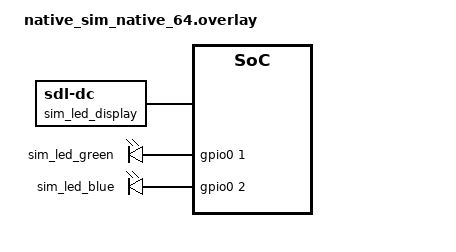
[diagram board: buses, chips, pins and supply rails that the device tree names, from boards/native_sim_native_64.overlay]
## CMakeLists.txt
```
cmake_minimum_required(VERSION 3.28.0)

option(LONGAN_NANO_USBFS_INFO "Build the USBFS register diagnostic application" OFF)
option(LONGAN_NANO_USB_CLOCK_TEST "Test a 96 MHz PLL and 48 MHz USB clock" OFF)
option(LONGAN_NANO_USB_CONSOLE "Use the experimental USB CDC ACM console" OFF)

if(LONGAN_NANO_USB_CONSOLE)
  if(LONGAN_NANO_USBFS_INFO OR LONGAN_NANO_USB_CLOCK_TEST)
    message(FATAL_ERROR "The USB console cannot be combined with USB diagnostics")
  endif()
  list(APPEND EXTRA_ZEPHYR_MODULES "${CMAKE_CURRENT_SOURCE_DIR}/drivers/usb_gd32")
  list(APPEND EXTRA_DTC_OVERLAY_FILE "${CMAKE_CURRENT_SOURCE_DIR}/boards/longan_nano_usb_console.overlay")
  list(APPEND EXTRA_CONF_FILE "${CMAKE_CURRENT_SOURCE_DIR}/boards/longan_nano_usb_console.conf")
endif()

if(LONGAN_NANO_USB_CLOCK_TEST)
  if(NOT LONGAN_NANO_USBFS_INFO)
    message(FATAL_ERROR "The USB clock test requires LONGAN_NANO_USBFS_INFO")
  endif()
  list(APPEND EXTRA_DTC_OVERLAY_FILE "${CMAKE_CURRENT_SOURCE_DIR}/boards/longan_nano_usb_clock.overlay")
endif()

find_package(Zephyr REQUIRED HINTS "${CMAKE_CURRENT_SOURCE_DIR}/zephyr" $ENV{ZEPHYR_BASE})
project(longannano)

if(LONGAN_NANO_USB_CONSOLE AND NOT CONFIG_SOC_GD32VF103)
  message(FATAL_ERROR "The USB console is only supported on GD32VF103")
endif()

if(LONGAN_NANO_USBFS_INFO)
  if(NOT CONFIG_SOC_GD32VF103)
    message(FATAL_ERROR "The USBFS diagnostic is only supported on GD32VF103")
  endif()
  target_sources(app PRIVATE src/usbfs_info.c)
  if(LONGAN_NANO_USB_CLOCK_TEST)
    target_sources(app PRIVATE src/usb_clock_test.c)
    target_compile_definitions(app PRIVATE LONGAN_NANO_USB_CLOCK_TEST)
    target_link_options(app PUBLIC "LINKER:--wrap=SystemInit")
  endif()
else()
  target_sources(app PRIVATE src/main.c)

  find_program(CARGO_EXECUTABLE cargo REQUIRED)
  if(CONFIG_SOC_GD32VF103)
    set(RUST_TARGET riscv32i-unknown-none-elf)
  elseif(CONFIG_ARCH_POSIX AND CONFIG_64BIT AND CMAKE_HOST_SYSTEM_PROCESSOR MATCHES "^(x86_64|aarch64)$")
    set(RUST_TARGET "${CMAKE_HOST_SYSTEM_PROCESSOR}-unknown-linux-gnu")
  else()
    message(FATAL_ERROR "Rust target is not configured for this board")
  endif()

  set(RUST_TARGET_DIR "${CMAKE_CURRENT_BINARY_DIR}/cargo")
  set(RUST_LIBRARY "${RUST_TARGET_DIR}/${RUST_TARGET}/release/librustapp.a")
  add_custom_target(rust_app_build
    COMMAND ${CARGO_EXECUTABLE} build --locked --release --target ${RUST_TARGET}
            --target-dir ${RUST_TARGET_DIR}
    WORKING_DIRECTORY ${CMAKE_CURRENT_SOURCE_DIR}
    BYPRODUCTS ${RUST_LIBRARY}
    USES_TERMINAL
  )
  add_dependencies(app rust_app_build)
  target_link_libraries(app PRIVATE ${RUST_LIBRARY})
endif()
```

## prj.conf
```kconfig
CONFIG_DISPLAY=y
CONFIG_GPIO=y
```

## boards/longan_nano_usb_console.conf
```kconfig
CONFIG_USB_DEVICE_STACK_NEXT=y
CONFIG_CDC_ACM_SERIAL_INITIALIZE_AT_BOOT=y
CONFIG_SERIAL=y
CONFIG_CONSOLE=y
CONFIG_UART_CONSOLE=y
CONFIG_UART_LINE_CTRL=y

# Temporary testing only: Zephyr's VID/PID must not be used by external apps.
CONFIG_CDC_ACM_SERIAL_VID=0x2fe3
CONFIG_CDC_ACM_SERIAL_PID=0x0001
CONFIG_CDC_ACM_SERIAL_MANUFACTURER_STRING="Longan Nano experiment"
CONFIG_CDC_ACM_SERIAL_PRODUCT_STRING="Longan Nano USB console"
```

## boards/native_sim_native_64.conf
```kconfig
CONFIG_SDL_DISPLAY_ZOOM_PCT=300
CONFIG_NATIVE_SIM_SLOWDOWN_TO_REAL_TIME=y
```

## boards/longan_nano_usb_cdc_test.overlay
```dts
/ {
	cpus {
		timebase-frequency = <24000000>;
	};

	soc {
		zephyr_udc0: usb@50000000 {
			compatible = "gd,gd32vf103-usbfs";
			reg = <0x50000000 0x5000>;
			interrupts = <86 0>;
			status = "okay";

			cdc_acm_uart0: cdc_acm_uart0 {
				compatible = "zephyr,cdc-acm-uart";
			};
		};
	};
};

&cpu {
	clock-frequency = <96000000>;
};
```

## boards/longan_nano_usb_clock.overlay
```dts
/ {
	cpus {
		timebase-frequency = <24000000>;
	};
};

&cpu {
	clock-frequency = <96000000>;
};
```

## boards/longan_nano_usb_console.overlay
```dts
#include "longan_nano_usb_cdc_test.overlay"

/ {
	chosen {
		zephyr,console = &cdc_acm_uart0;
		zephyr,shell-uart = &cdc_acm_uart0;
	};
};
```

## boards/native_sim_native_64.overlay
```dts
#include <zephyr/dt-bindings/display/panel.h>
#include <zephyr/dt-bindings/gpio/gpio.h>

/ {
	aliases {
		led1 = &sim_led_green;
		led2 = &sim_led_blue;
	};

	sim_led_display: sim-led-display {
		compatible = "zephyr,sdl-dc";
		title = "RGB LED (simulated)";
		width = <32>;
		height = <32>;
		pixel-format = <PANEL_PIXEL_FORMAT_RGB_565>;
	};
};

&leds {
	sim_led_green: led_green {
		gpios = <&gpio0 1 GPIO_ACTIVE_HIGH>;
	};

	sim_led_blue: led_blue {
		gpios = <&gpio0 2 GPIO_ACTIVE_HIGH>;
	};
};

&sdl_dc {
	title = "Longan Nano LCD (simulated)";
	width = <160>;
	height = <80>;
	pixel-format = <PANEL_PIXEL_FORMAT_RGB_565>;
};
```

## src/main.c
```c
#include <errno.h>

#include <zephyr/device.h>
#include <zephyr/drivers/display.h>
#include <zephyr/drivers/gpio.h>
#include <zephyr/kernel.h>
#include <zephyr/sys/printk.h>

#if defined(CONFIG_CDC_ACM_SERIAL_INITIALIZE_AT_BOOT)
#include <zephyr/drivers/uart.h>
#endif

#if DT_NODE_EXISTS(DT_NODELABEL(sim_led_display))
#include <zephyr/drivers/gpio/gpio_emul.h>
#endif

#define LCD_WIDTH 160
#define LCD_HEIGHT 80

static const struct gpio_dt_spec leds[] = {
	GPIO_DT_SPEC_GET(DT_ALIAS(led0), gpios),
	GPIO_DT_SPEC_GET(DT_ALIAS(led1), gpios),
	GPIO_DT_SPEC_GET(DT_ALIAS(led2), gpios),
};

static const struct device *const lcd = DEVICE_DT_GET(DT_CHOSEN(zephyr_display));

int app_lcd_init(void)
{
	struct display_capabilities caps;

	if (!device_is_ready(lcd)) {
		return -ENODEV;
	}
	display_get_capabilities(lcd, &caps);
	if (caps.x_resolution != LCD_WIDTH || caps.y_resolution != LCD_HEIGHT ||
	    (caps.current_pixel_format != PIXEL_FORMAT_RGB_565 &&
	     caps.current_pixel_format != PIXEL_FORMAT_RGB_565X)) {
		return -ENOTSUP;
	}
	return 0;
}

int app_lcd_write_row(uint16_t y, const uint16_t *pixels)
{
	const struct display_buffer_descriptor desc = {
		.buf_size = LCD_WIDTH * sizeof(*pixels),
		.width = LCD_WIDTH,
		.height = 1,
		.pitch = LCD_WIDTH,
	};

	return display_write(lcd, 0, y, &desc, pixels);
}

int app_lcd_show(void)
{
	return display_blanking_off(lcd);
}

int app_leds_init(void)
{
	for (size_t i = 0; i < ARRAY_SIZE(leds); i++) {
		if (!gpio_is_ready_dt(&leds[i])) {
			return -ENODEV;
		}
		int ret = gpio_pin_configure_dt(&leds[i], GPIO_OUTPUT_INACTIVE);

		if (ret < 0) {
			return ret;
		}
	}
	return 0;
}

int app_led_set(uint32_t index, bool active)
{
	if (index >= ARRAY_SIZE(leds)) {
		return -EINVAL;
	}
	return gpio_pin_set_dt(&leds[index], active);
}

#if DT_NODE_EXISTS(DT_NODELABEL(sim_led_display))
static const struct device *const led_display = DEVICE_DT_GET(DT_NODELABEL(sim_led_display));

int app_sim_led_init(void)
{
	if (!device_is_ready(led_display)) {
		return -ENODEV;
	}
	return display_blanking_off(led_display);
}

int app_sim_led_update(void)
{
	static uint16_t pixels[32 * 32];
	static const uint16_t colors[] = {0xf800, 0x07e0, 0x001f};
	uint16_t color = 0;
	const struct display_buffer_descriptor desc = {
		.buf_size = sizeof(pixels),
		.width = 32,
		.height = 32,
		.pitch = 32,
	};

	for (size_t i = 0; i < ARRAY_SIZE(leds); i++) {
		int state = gpio_emul_output_get_dt(&leds[i]);

		if (state < 0) {
			return state;
		}
		if (state != 0) {
			color |= colors[i];
		}
	}
	for (size_t i = 0; i < ARRAY_SIZE(pixels); i++) {
		pixels[i] = color;
	}
	return display_write(led_display, 0, 0, &desc, pixels);
}
#else
int app_sim_led_init(void)
{
	return 0;
}

int app_sim_led_update(void)
{
	return 0;
}
#endif

void app_sleep_one_second(void)
{
	k_sleep(K_SECONDS(1));
}

void app_report_error(const char *operation, int status)
{
	printk("%s failed: %d\n", operation, status);
}

void app_report_message(const char *message)
{
	printk("%s\n", message);
}

#if defined(CONFIG_CDC_ACM_SERIAL_INITIALIZE_AT_BOOT)
static struct k_work_delayable greeting_work;
static const struct device *const console = DEVICE_DT_GET(DT_CHOSEN(zephyr_console));
static bool console_connected;

static void report_usb_greeting(struct k_work *work)
{
	uint32_t dtr;
	int ret;

	ARG_UNUSED(work);
	ret = uart_line_ctrl_get(console, UART_LINE_CTRL_DTR, &dtr);
	if (ret < 0) {
		printk("USB console DTR check failed: %d\n", ret);
		return;
	}
	if (dtr && console_connected) {
		printk("Hello, Zephyr World (%s)\n", CONFIG_BOARD_TARGET);
		return;
	}
	console_connected = dtr;
	/* Allow the CDC transmit FIFO to drain the earlier boot banner. */
	ret = k_work_schedule(&greeting_work, K_MSEC(dtr ? 250 : 100));
	if (ret < 0) {
		printk("USB console greeting scheduling failed: %d\n", ret);
	}
}
#endif

void app_report_greeting(void)
{
#if defined(CONFIG_CDC_ACM_SERIAL_INITIALIZE_AT_BOOT)
	int ret;

	k_work_init_delayable(&greeting_work, report_usb_greeting);
	ret = k_work_schedule(&greeting_work, K_NO_WAIT);
	if (ret < 0) {
		printk("USB console greeting scheduling failed: %d\n", ret);
	}
#else
	printk("Hello, Zephyr World (%s)\n", CONFIG_BOARD_TARGET);
#endif
}

FUNC_NORETURN void app_panic(void)
{
	printk("Rust panic\n");
	k_panic();
	CODE_UNREACHABLE;
}

extern void rust_main(void);

int main(void)
{
	rust_main();
	return 0;
}
```

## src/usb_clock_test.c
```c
#include <stdint.h>

#include <gd32vf103.h>
#include <zephyr/devicetree.h>
#include <zephyr/kernel.h>
#include <zephyr/sys/util.h>

#define CLOCK_WAIT_LIMIT 1000000U

BUILD_ASSERT(DT_PROP(DT_NODELABEL(cpu), clock_frequency) == 96000000);
BUILD_ASSERT(DT_PROP(DT_PATH(cpus), timebase_frequency) == 24000000);
BUILD_ASSERT(CONFIG_SYS_CLOCK_HW_CYCLES_PER_SEC == 24000000);

void __real_SystemInit(void);
void __wrap_SystemInit(void);

static void wait_for_clock(volatile uint32_t *reg, uint32_t mask, uint32_t expected)
{
	for (uint32_t i = 0; i < CLOCK_WAIT_LIMIT; i++) {
		if ((*reg & mask) == expected) {
			return;
		}
	}

	k_panic();
}

void __wrap_SystemInit(void)
{
	__real_SystemInit();
	SystemCoreClockUpdate();

	if (SystemCoreClock != 108000000U ||
	    (RCU_CFG0 & RCU_CFG0_SCSS) != RCU_SCSS_PLL ||
	    (RCU_CTL & RCU_CTL_HXTALSTB) == 0U) {
		k_panic();
	}

	RCU_CFG0 = (RCU_CFG0 & ~RCU_CFG0_SCS) | RCU_CKSYSSRC_HXTAL;
	wait_for_clock(&RCU_CFG0, RCU_CFG0_SCSS, RCU_SCSS_HXTAL);

	RCU_CTL &= ~RCU_CTL_PLLEN;
	wait_for_clock(&RCU_CTL, RCU_CTL_PLLSTB, 0U);
	RCU_CFG0 = (RCU_CFG0 & ~(RCU_CFG0_PLLMF | RCU_CFG0_PLLMF_4 |
				  RCU_CFG0_USBFSPSC)) |
		   RCU_PLL_MUL24 | RCU_CKUSB_CKPLL_DIV2;
	RCU_CTL |= RCU_CTL_PLLEN;
	wait_for_clock(&RCU_CTL, RCU_CTL_PLLSTB, RCU_CTL_PLLSTB);

	RCU_CFG0 = (RCU_CFG0 & ~RCU_CFG0_SCS) | RCU_CKSYSSRC_PLL;
	wait_for_clock(&RCU_CFG0, RCU_CFG0_SCSS, RCU_SCSS_PLL);
	SystemCoreClockUpdate();
	if (SystemCoreClock != 96000000U ||
	    (RCU_CFG0 & RCU_CFG0_USBFSPSC) != RCU_CKUSB_CKPLL_DIV2) {
		k_panic();
	}
}
```

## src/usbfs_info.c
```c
#include <errno.h>
#include <stdbool.h>
#include <stddef.h>
#include <stdio.h>
#include <stdint.h>
#include <string.h>

#include <zephyr/device.h>
#include <zephyr/drivers/display.h>
#include <zephyr/drivers/gpio.h>
#include <zephyr/kernel.h>
#include <zephyr/sys/printk.h>
#include <zephyr/sys/sys_io.h>
#include <zephyr/sys/util.h>

#define LCD_WIDTH 160
#define LCD_HEIGHT 80
#define LCD_LINE_COUNT 8
#define LCD_LINE_HEIGHT 9
#define USBFS_BASE 0x50000000U
#define USBFS_GOTGCTL 0x000U
#define USBFS_GUSBCFG 0x00CU
#define USBFS_GCCFG 0x038U
#define USBFS_CID 0x03CU
#define USBFS_GHWCFG3 0x04CU
#define USBFS_GRXFSIZ 0x024U
#define USBFS_GNPTXFSIZ 0x028U
#define USBFS_DIEPTXF1 0x104U
#define USBFS_NUM_IN_EPS 4
#define USBFS_TX_FIFO_COUNT (USBFS_NUM_IN_EPS - 1)
#define USBFS_GCCFG_PWRON BIT(16)
#define USBFS_GCCFG_VBUSBCEN BIT(19)
#define USBFS_GCCFG_VBUSIG BIT(21)
#define RCU_BASE 0x40021000U
#define RCU_CFG0 (RCU_BASE + 0x04U)
#define RCU_AHBEN (RCU_BASE + 0x14U)
#define RCU_RSTSCK (RCU_BASE + 0x24U)
#define RCU_AHBRST (RCU_BASE + 0x28U)
#define RCU_USBFS_BIT BIT(12)
#define RCU_RSTFC BIT(24)
#define TEXT_WIDTH 5
#define TEXT_HEIGHT 7
#define TEXT_ADVANCE 6

struct register_value {
	const char *name;
	uint32_t value;
};

static const struct device *const lcd = DEVICE_DT_GET(DT_CHOSEN(zephyr_display));
static const struct gpio_dt_spec page_button = GPIO_DT_SPEC_GET(DT_ALIAS(sw0), gpios);
static const struct gpio_dt_spec heartbeat_led = GPIO_DT_SPEC_GET(DT_ALIAS(led0), gpios);
static const uint8_t slash_glyph[TEXT_HEIGHT] = {1, 1, 2, 4, 8, 16, 16};

static const uint8_t font[36][TEXT_HEIGHT] = {
	{14, 17, 19, 21, 25, 17, 14}, /* 0 */
	{4, 12, 4, 4, 4, 4, 14},
	{14, 17, 1, 2, 4, 8, 31},
	{30, 1, 1, 14, 1, 1, 30},
	{2, 6, 10, 18, 31, 2, 2},
	{31, 16, 16, 30, 1, 1, 30},
	{6, 8, 16, 30, 17, 17, 14},
	{31, 1, 2, 4, 8, 8, 8},
	{14, 17, 17, 14, 17, 17, 14},
	{14, 17, 17, 15, 1, 2, 12},
	{14, 17, 17, 31, 17, 17, 17}, /* A */
	{30, 17, 17, 30, 17, 17, 30},
	{14, 17, 16, 16, 16, 17, 14},
	{28, 18, 17, 17, 17, 18, 28},
	{31, 16, 16, 30, 16, 16, 31},
	{31, 16, 16, 30, 16, 16, 16},
	{14, 17, 16, 23, 17, 17, 15},
	{17, 17, 17, 31, 17, 17, 17},
	{14, 4, 4, 4, 4, 4, 14},
	{7, 2, 2, 2, 2, 18, 12},
	{17, 18, 20, 24, 20, 18, 17},
	{16, 16, 16, 16, 16, 16, 31},
	{17, 27, 21, 21, 17, 17, 17},
	{17, 25, 21, 19, 17, 17, 17},
	{14, 17, 17, 17, 17, 17, 14},
	{30, 17, 17, 30, 16, 16, 16},
	{14, 17, 17, 17, 21, 18, 13},
	{30, 17, 17, 30, 20, 18, 17},
	{15, 16, 16, 14, 1, 1, 30},
	{31, 4, 4, 4, 4, 4, 4},
	{17, 17, 17, 17, 17, 17, 14},
	{17, 17, 17, 17, 17, 10, 4},
	{17, 17, 17, 21, 21, 21, 10},
	{17, 17, 10, 4, 10, 17, 17},
	{17, 17, 10, 4, 4, 4, 4},
	{31, 1, 2, 4, 8, 16, 31},
};

static const uint32_t usbfs_registers[] = {
	[0] = USBFS_GOTGCTL,
	[1] = USBFS_GUSBCFG,
	[2] = USBFS_GCCFG,
	[3] = USBFS_CID,
	[4] = USBFS_GHWCFG3,
	[5] = USBFS_GRXFSIZ,
	[6] = USBFS_GNPTXFSIZ,
};

static const char *const usbfs_register_names[] = {
	"GOTGCTL", "GUSBCFG", "GCCFG", "CID",
	"GHWCFG3", "GRXFSIZ", "GNPTXFSIZ",
};

static uint32_t usbfs_values[ARRAY_SIZE(usbfs_registers)];
static uint32_t tx_fifo_values[USBFS_TX_FIFO_COUNT];
static uint32_t rcu_cfg0_value;
static uint32_t rcu_ahben_value;
static uint32_t rcu_ahbrst_value;
static uint32_t rcu_rstsck_value;
static uint32_t heartbeat_last_toggle;
static bool heartbeat_led_on;
static uint16_t display_row[LCD_WIDTH];
static char display_lines[LCD_LINE_COUNT][32];

static const uint8_t *get_glyph(char ch)
{
	if (ch >= '0' && ch <= '9') {
		return font[(size_t)(ch - '0')];
	}
	if (ch >= 'A' && ch <= 'Z') {
		return font[10U + (size_t)(ch - 'A')];
	}
	if (ch == '/') {
		return slash_glyph;
	}
	return NULL;
}

static bool pixel_is_set(const char *text, int x, int y)
{
	int char_index = x / TEXT_ADVANCE;
	int glyph_x = x % TEXT_ADVANCE;
	const uint8_t *glyph;

	if (glyph_x >= TEXT_WIDTH || text[char_index] == '\0') {
		return false;
	}
	glyph = get_glyph(text[char_index]);
	return glyph != NULL && (glyph[y] & BIT(TEXT_WIDTH - 1 - glyph_x)) != 0;
}

static int draw_lines(const char lines[LCD_LINE_COUNT][32])
{
	const struct display_buffer_descriptor desc = {
		.buf_size = sizeof(display_row),
		.width = LCD_WIDTH,
		.height = 1,
		.pitch = LCD_WIDTH,
	};

	for (int y = 0; y < LCD_HEIGHT; y++) {
		memset(display_row, 0, sizeof(display_row));
		for (size_t line = 0; line < LCD_LINE_COUNT; line++) {
			int line_y = (int)line * LCD_LINE_HEIGHT;

			if (y < line_y || y >= line_y + TEXT_HEIGHT) {
				continue;
			}
			size_t text_len = strlen(lines[line]);
			int text_width = (int)text_len * TEXT_ADVANCE - 1;
			int start_x = MAX(0, (LCD_WIDTH - text_width) / 2);

			for (int x = 0; x < text_width && start_x + x < LCD_WIDTH; x++) {
				if (pixel_is_set(lines[line], x, y - line_y)) {
					display_row[start_x + x] = UINT16_MAX;
				}
			}
		}
		int ret = display_write(lcd, 0, y, &desc, display_row);

		if (ret < 0) {
			return ret;
		}
	}
	return 0;
}

static int draw_button_status(int state)
{
	char text[16];
	size_t text_width;
	int start_x;

	snprintk(text, sizeof(text), "BOOT0 %u", (unsigned int)(state != 0));
	text_width = strlen(text) * TEXT_ADVANCE - 1U;
	start_x = (LCD_WIDTH - (int)text_width) / 2;

	for (int y = 0; y < TEXT_HEIGHT; y++) {
		memset(display_row, 0, sizeof(display_row));
		for (size_t x = 0; x < text_width; x++) {
			if (pixel_is_set(text, x, y)) {
				display_row[start_x + x] = UINT16_MAX;
			}
		}
		int ret = display_write(lcd, 0, LCD_HEIGHT - TEXT_HEIGHT - 1 + y,
					&(const struct display_buffer_descriptor) {
						.buf_size = sizeof(display_row),
						.width = LCD_WIDTH,
						.height = 1,
						.pitch = LCD_WIDTH,
					},
					display_row);

		if (ret < 0) {
			return ret;
		}
	}
	return 0;
}

static void set_line(char lines[LCD_LINE_COUNT][32], size_t line, const char *format,
		     const char *name, uint32_t value)
{
	snprintk(lines[line], sizeof(lines[line]), format, name, value);
}

static void collect_registers(void)
{
	for (size_t i = 0; i < ARRAY_SIZE(usbfs_registers); i++) {
		usbfs_values[i] = sys_read32(USBFS_BASE + usbfs_registers[i]);
	}
	rcu_cfg0_value = sys_read32(RCU_CFG0);
	rcu_ahben_value = sys_read32(RCU_AHBEN);
	rcu_ahbrst_value = sys_read32(RCU_AHBRST);
	rcu_rstsck_value = sys_read32(RCU_RSTSCK);
	sys_write32(rcu_rstsck_value | RCU_RSTFC, RCU_RSTSCK);

	for (size_t i = 0; i < ARRAY_SIZE(tx_fifo_values); i++) {
		tx_fifo_values[i] = sys_read32(USBFS_BASE + USBFS_DIEPTXF1 + (i * 4U));
	}
}

static void report_registers(void)
{
	printk("USBFS register diagnostic (read-only)\n");
	printk("RCU CFG0=%08x AHBEN=%08x AHBRST=%08x\n",
	       rcu_cfg0_value, rcu_ahben_value, rcu_ahbrst_value);
	printk("RCU RSTSCK=%08x\n", rcu_rstsck_value);
	printk("Reset flags: POR=%u SW=%u FWDGT=%u WWDGT=%u LP=%u\n",
	       (rcu_rstsck_value >> 27) & 1U,
	       (rcu_rstsck_value >> 28) & 1U,
	       (rcu_rstsck_value >> 29) & 1U,
	       (rcu_rstsck_value >> 30) & 1U,
	       (rcu_rstsck_value >> 31) & 1U);
	printk("USBFS clock divider field=%u, AHB clock=%s\n",
	       (rcu_cfg0_value >> 22) & 0x3U,
	       (rcu_ahben_value & RCU_USBFS_BIT) ? "enabled" : "disabled");
	for (size_t i = 0; i < ARRAY_SIZE(usbfs_values); i++) {
		printk("%s=%08x\n", usbfs_register_names[i], usbfs_values[i]);
	}
	printk("DIEPTXF count=%u\n", USBFS_TX_FIFO_COUNT);
	for (size_t i = 0; i < ARRAY_SIZE(tx_fifo_values); i++) {
		printk("DIEPTXF%u=%08x\n", (unsigned int)(i + 1U), tx_fifo_values[i]);
	}
}

static void make_page(size_t page, char lines[LCD_LINE_COUNT][32], size_t fifo_pages)
{
	memset(lines, 0, LCD_LINE_COUNT * 32U);
	if (page == 0U) {
		snprintk(lines[0], sizeof(lines[0]), "USBFS DWC2");
		for (size_t i = 0; i < ARRAY_SIZE(usbfs_values); i++) {
			set_line(lines, i + 1U, "%s %08X",
				 usbfs_register_names[i], usbfs_values[i]);
		}
		return;
	}
	if (page == 1U) {
#ifdef LONGAN_NANO_USB_CLOCK_TEST
		snprintk(lines[0], sizeof(lines[0]), "USB 48M TEST");
#else
		snprintk(lines[0], sizeof(lines[0]), "CLOCK STATE");
#endif
		snprintk(lines[1], sizeof(lines[1]), "RCU CFG0 %08X", rcu_cfg0_value);
		snprintk(lines[2], sizeof(lines[2]), "RCU AHBEN %08X", rcu_ahben_value);
		snprintk(lines[3], sizeof(lines[3]), "RCU AHBRST %08X", rcu_ahbrst_value);
		snprintk(lines[4], sizeof(lines[4]), "USB DIV %u",
			 (rcu_cfg0_value >> 22) & 0x3U);
		snprintk(lines[5], sizeof(lines[5]), "USB AHB %s",
			 (rcu_ahben_value & RCU_USBFS_BIT) ? "ON" : "OFF");
		snprintk(lines[6], sizeof(lines[6]), "RCU RSTSCK %08X", rcu_rstsck_value);
		return;
	}

	size_t fifo_page = page - 2U;
	size_t first_fifo = fifo_page * (LCD_LINE_COUNT - 1U);

	snprintk(lines[0], sizeof(lines[0]), "TX FIFO %u/%u",
		 (unsigned int)(fifo_page + 1U), (unsigned int)fifo_pages);
	for (size_t row = 1; row < LCD_LINE_COUNT; row++) {
		size_t fifo = first_fifo + row - 1U;

		if (fifo >= ARRAY_SIZE(tx_fifo_values)) {
			break;
		}
		snprintk(lines[row], sizeof(lines[row]), "DIEPTXF%02u %08X",
			 (unsigned int)(fifo + 1U), tx_fifo_values[fifo]);
	}
}

static void enable_usbfs_clock(void)
{
	uint32_t ahben = sys_read32(RCU_AHBEN);
	uint32_t ahbrst;

	sys_write32(ahben | RCU_USBFS_BIT, RCU_AHBEN);
	ahbrst = sys_read32(RCU_AHBRST);
	sys_write32(ahbrst | RCU_USBFS_BIT, RCU_AHBRST);
	sys_write32(ahbrst & ~RCU_USBFS_BIT, RCU_AHBRST);
}

static void power_usbfs_core(void)
{
	uint32_t gccfg = sys_read32(USBFS_BASE + USBFS_GCCFG);

	gccfg |= USBFS_GCCFG_PWRON | USBFS_GCCFG_VBUSIG | USBFS_GCCFG_VBUSBCEN;
	sys_write32(gccfg, USBFS_BASE + USBFS_GCCFG);
}

static int update_heartbeat(void)
{
	uint32_t now = k_uptime_get_32();

	if ((uint32_t)(now - heartbeat_last_toggle) < 500U) {
		return 0;
	}
	heartbeat_led_on = !heartbeat_led_on;
	heartbeat_last_toggle = now;
	return gpio_pin_set_dt(&heartbeat_led, heartbeat_led_on);
}

static int wait_for_page_button(void)
{
	int state;
	int displayed_state = -1;

	while (true) {
		int ret = update_heartbeat();

		if (ret < 0) {
			return ret;
		}
		state = gpio_pin_get_dt(&page_button);
		if (state < 0) {
			return state;
		}
		if (state != displayed_state) {
			int ret = draw_button_status(state);

			if (ret < 0) {
				return ret;
			}
			displayed_state = state;
		}
		if (state != 0) {
			k_sleep(K_MSEC(30));
			state = gpio_pin_get_dt(&page_button);
			if (state < 0) {
				return state;
			}
			if (state != 0) {
				break;
			}
		}
		k_sleep(K_MSEC(20));
	}

	do {
		k_sleep(K_MSEC(20));
		int ret = update_heartbeat();

		if (ret < 0) {
			return ret;
		}
		state = gpio_pin_get_dt(&page_button);
		if (state < 0) {
			return state;
		}
		if (state != displayed_state) {
			int ret = draw_button_status(state);

			if (ret < 0) {
				return ret;
			}
			displayed_state = state;
		}
	} while (state != 0);

	k_sleep(K_MSEC(100));
	return 0;
}

int main(void)
{
	struct display_capabilities caps;
	size_t fifo_pages;
	size_t page_count;
	size_t page = 0;
	int ret;

	if (!device_is_ready(lcd)) {
		printk("LCD is not ready\n");
		return -ENODEV;
	}
	display_get_capabilities(lcd, &caps);
	if (caps.x_resolution != LCD_WIDTH || caps.y_resolution != LCD_HEIGHT) {
		printk("Unexpected LCD resolution: %u x %u\n",
		       caps.x_resolution, caps.y_resolution);
		return -ENOTSUP;
	}
	if (!gpio_is_ready_dt(&page_button)) {
		printk("BOOT0 button GPIO is not ready\n");
		return -ENODEV;
	}
	ret = gpio_pin_configure_dt(&page_button, GPIO_INPUT | GPIO_PULL_DOWN);
	if (ret < 0) {
		printk("BOOT0 button setup failed: %d\n", ret);
		return ret;
	}
	if (!gpio_is_ready_dt(&heartbeat_led)) {
		printk("Heartbeat LED GPIO is not ready\n");
		return -ENODEV;
	}
	ret = gpio_pin_configure_dt(&heartbeat_led, GPIO_OUTPUT_INACTIVE);
	if (ret < 0) {
		printk("Heartbeat LED setup failed: %d\n", ret);
		return ret;
	}
	ret = gpio_pin_set_dt(&heartbeat_led, 1);
	if (ret < 0) {
		printk("Heartbeat LED initial state failed: %d\n", ret);
		return ret;
	}
	heartbeat_led_on = true;
	heartbeat_last_toggle = k_uptime_get_32();

	enable_usbfs_clock();
	k_busy_wait(10);
	power_usbfs_core();
	k_busy_wait(10);
	collect_registers();
	report_registers();

	if (caps.current_pixel_format != PIXEL_FORMAT_RGB_565 &&
	    caps.current_pixel_format != PIXEL_FORMAT_RGB_565X) {
		printk("Unsupported LCD pixel format\n");
		return -ENOTSUP;
	}
	ret = display_blanking_off(lcd);

	if (ret < 0) {
		printk("LCD unblank failed: %d\n", ret);
		return ret;
	}

	fifo_pages = MAX(1U, (USBFS_TX_FIFO_COUNT + LCD_LINE_COUNT - 2U) /
				 (LCD_LINE_COUNT - 1U));
	page_count = 2U + fifo_pages;

	while (true) {
		make_page(page, display_lines, fifo_pages);
		ret = draw_lines(display_lines);
		if (ret < 0) {
			printk("LCD draw failed: %d\n", ret);
			return ret;
		}
		printk("Displayed page %u/%u. Press and release BOOT0 to continue.\n",
		       (unsigned int)(page + 1U), (unsigned int)page_count);
		ret = wait_for_page_button();
		if (ret < 0) {
			printk("BOOT0 button read failed: %d\n", ret);
			return ret;
		}
		page = (page + 1U) % page_count;
	}
}
```
